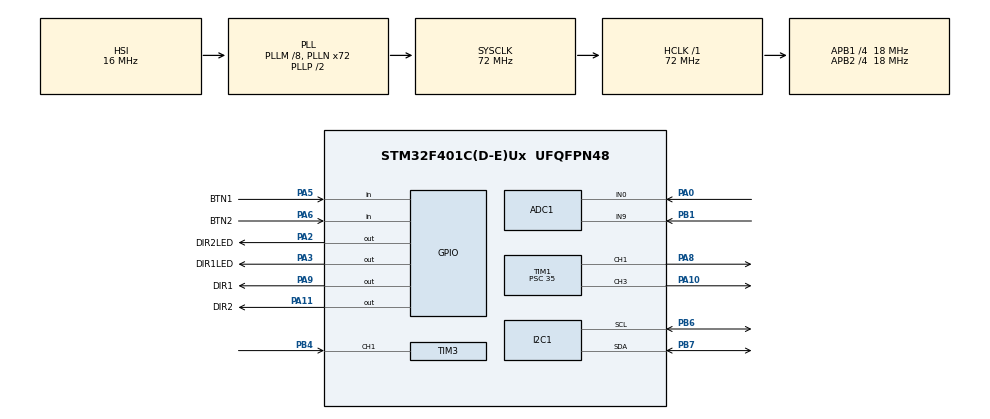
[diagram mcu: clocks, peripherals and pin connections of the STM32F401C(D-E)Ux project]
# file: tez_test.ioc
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ADC1.Channel-0\#ChannelRegularConversion=ADC_CHANNEL_0
ADC1.Channel-1\#ChannelRegularConversion=ADC_CHANNEL_9
ADC1.ContinuousConvMode=ENABLE
ADC1.DMAContinuousRequests=ENABLE
ADC1.DiscontinuousConvMode=DISABLE
ADC1.NbrOfConversion=2
ADC1.NbrOfConversionFlag=1
ADC1.Rank-0\#ChannelRegularConversion=1
ADC1.Rank-1\#ChannelRegularConversion=2
ADC1.SamplingTime-0\#ChannelRegularConversion=ADC_SAMPLETIME_112CYCLES
ADC1.SamplingTime-1\#ChannelRegularConversion=ADC_SAMPLETIME_56CYCLES
ADC1.master=1
Dma.ADC1.0.Direction=DMA_PERIPH_TO_MEMORY
Dma.ADC1.0.FIFOMode=DMA_FIFOMODE_DISABLE
Dma.ADC1.0.Instance=DMA2_Stream0
Dma.ADC1.0.MemDataAlignment=DMA_MDATAALIGN_WORD
Dma.ADC1.0.MemInc=DMA_MINC_ENABLE
Dma.ADC1.0.Mode=DMA_CIRCULAR
Dma.ADC1.0.PeriphDataAlignment=DMA_PDATAALIGN_WORD
Dma.ADC1.0.PeriphInc=DMA_PINC_DISABLE
Dma.ADC1.0.Priority=DMA_PRIORITY_LOW
Dma.Request0=ADC1
I2C1.I2C_Mode=I2C_Fast
Mcu.Family=STM32F4
Mcu.Name=STM32F401C(D-E)Ux
Mcu.Package=UFQFPN48
NVIC.ADC_IRQn=true\:0\:0\:false\:false\:true\:true\:true\:true
NVIC.DMA2_Stream0_IRQn=true\:0\:0\:false\:false\:true\:false\:true\:true
NVIC.PriorityGroup=NVIC_PRIORITYGROUP_4
NVIC.TIM3_IRQn=true\:0\:0\:true\:false\:true\:true\:true\:true
PA0-WKUP.Signal=ADCx_IN0
PA10.Signal=S_TIM1_CH3
PA11.GPIO_Label=DIR2
PA11.Signal=GPIO_Output
PA13.Mode=Trace_Asynchronous_SW
PA13.Signal=SYS_JTMS-SWDIO
PA14.Mode=Trace_Asynchronous_SW
PA14.Signal=SYS_JTCK-SWCLK
PA2.GPIO_Label=DIR2LED
PA2.Signal=GPIO_Output
PA3.GPIO_Label=DIR1LED
PA3.Signal=GPIO_Output
PA5.GPIO_Label=BTN1
PA5.Signal=GPIO_Input
PA6.GPIO_Label=BTN2
PA6.Signal=GPIO_Input
PA8.Signal=S_TIM1_CH1
PA9.GPIO_Label=DIR1
PA9.Signal=GPIO_Output
PB1.Signal=ADCx_IN9
PB3.Mode=Trace_Asynchronous_SW
PB3.Signal=SYS_JTDO-SWO
PB4.Signal=S_TIM3_CH1
PB6.Mode=I2C
PB6.Signal=I2C1_SCL
PB7.Mode=I2C
PB7.Signal=I2C1_SDA
PH0\ -\ OSC_IN.Mode=HSE-External-Oscillator
PH0\ -\ OSC_IN.Signal=RCC_OSC_IN
PH1\ -\ OSC_OUT.Mode=HSE-External-Oscillator
PH1\ -\ OSC_OUT.Signal=RCC_OSC_OUT
ProjectManager.HeapSize=0x200
ProjectManager.StackSize=0x400
ProjectManager.TargetToolchain=STM32CubeIDE
RCC.48MHZClocksFreq_Value=36000000
RCC.AHBFreq_Value=72000000
RCC.APB1CLKDivider=RCC_HCLK_DIV4
RCC.APB1Freq_Value=18000000
RCC.APB1TimFreq_Value=36000000
RCC.APB2CLKDivider=RCC_HCLK_DIV4
RCC.APB2Freq_Value=18000000
RCC.APB2TimFreq_Value=36000000
RCC.CortexFreq_Value=72000000
RCC.HCLKFreq_Value=72000000
RCC.HSE_VALUE=25000000
RCC.HSI_VALUE=16000000
RCC.LSE_VALUE=32768
RCC.PLLM=8
RCC.PLLN=72
RCC.SYSCLKFreq_VALUE=72000000
RCC.SYSCLKSource=RCC_SYSCLKSOURCE_PLLCLK
RCC.VCOOutputFreq_Value=144000000
SH.ADCx_IN0.0=ADC1_IN0,IN0
SH.ADCx_IN9.0=ADC1_IN9,IN9
SH.S_TIM1_CH1.0=TIM1_CH1,PWM Generation1 CH1
SH.S_TIM1_CH3.0=TIM1_CH3,PWM Generation3 CH3
SH.S_TIM3_CH1.0=TIM3_CH1,Input_Capture1_from_TI1
TIM1.Channel-PWM\ Generation1\ CH1=TIM_CHANNEL_1
TIM1.Channel-PWM\ Generation3\ CH3=TIM_CHANNEL_3
TIM1.CounterMode=TIM_COUNTERMODE_DOWN
TIM1.Period=999
TIM1.Prescaler=35
TIM3.AutoReloadPreload=TIM_AUTORELOAD_PRELOAD_DISABLE
TIM3.Channel-Input_Capture1_from_TI1=TIM_CHANNEL_1
TIM3.ICFilter_CH1=15
TIM3.Prescaler=1023
TIM3.TIM_MasterSlaveMode=TIM_MASTERSLAVEMODE_DISABLE
VP_TIM1_VS_ClockSourceINT.Mode=Internal
VP_TIM3_VS_ClockSourceINT.Mode=Internal
board=custom

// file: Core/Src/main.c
/* USER CODE BEGIN Header */
/**
  ******************************************************************************
  * @file           : main.c
  * @brief          : Main program body
  ******************************************************************************
  * @attention
  *
  * Copyright (c) 2023 STMicroelectronics.
  * All rights reserved.
  *
  * This software is licensed under terms that can be found in the LICENSE file
  * in the root directory of this software component.
  * If no LICENSE file comes with this software, it is provided AS-IS.
  *
  ******************************************************************************
  */
/* USER CODE END Header */
#include "main.h"

/* USER CODE BEGIN Includes */
#include "fonts.h"
#include "ssd1306.h"
#include <stdlib.h>
#include <stdio.h>
#include <string.h>
#include"math.h"
/* USER CODE END Includes */

/* USER CODE BEGIN PD */

uint32_t adcbuffer[2];
uint32_t adc_new;
uint16_t speed;
uint32_t adc;
float current;
float voltage;
/* USER CODE END PD */

ADC_HandleTypeDef hadc1;
DMA_HandleTypeDef hdma_adc1;

I2C_HandleTypeDef hi2c1;

TIM_HandleTypeDef htim1;
TIM_HandleTypeDef htim3;

/* USER CODE BEGIN PV */

//Devir Ölçme İçin
uint32_t ICValue = 10000, temp1, pwm;
uint16_t  devirDakika;
uint32_t devirFaktoru;
uint16_t preScaler = 1024;
uint16_t ICbuffer[5] = {0,0,0,0,0};
uint16_t sumIC=0, ortalamaIC=10000;
uint8_t i, tim3_overflow_flag = 0i;

//PID için
float kp = 0.15;  // PID sabitleri
float ki = 0.47;//0.2;
float kd = 0.02; //sonra bakılacak

float error = 0.0;  // hata değeri
float derivative = 0.0;  // türev değeri
float setpoint ;  // hedef hız değeri
float pwm_output = 0.0;  // pwm çıkış değeri
uint32_t last_time = 0;

float amplification;

uint32_t pwm_max = 65535;
uint32_t pwm1;
uint16_t duty_cycle;
uint8_t switch1_durum = 0;
uint8_t switch2_durum = 0;

uint32_t zaman = 0, son_zaman = 0;
/* USER CODE END PV */

void SystemClock_Config(void);
static void MX_GPIO_Init(void);
static void MX_DMA_Init(void);
static void MX_ADC1_Init(void);
static void MX_I2C1_Init(void);
static void MX_TIM1_Init(void);
static void MX_TIM3_Init(void);
/* USER CODE BEGIN PFP */

void read_switch_states(uint8_t *switch1_durum, uint8_t *switch2_durum); //switchleri okuyon fonk.

void HAL_ADC_ConvCpltCallback(ADC_HandleTypeDef* hadc) //adc okuma.
{
	if(hadc->Instance == ADC1)
	{
		speed = adcbuffer[0];
		adc = adcbuffer[1];
	}
}

void display_values(int duty_cycle, int current, int devirDakika, int setpoint_int) {
    HAL_Delay(50);
    char adc1[5], adc2[5], adc3[5], adc4[5];

    adc1[4] = '\0';// ekrandaki eski sayıyı silmek için.
    snprintf(adc1, 5, "%04d", duty_cycle);
    SSD1306_GotoXY (40, 0);
    SSD1306_Puts ( adc1 , &Font_11x18, 1);

    adc2[4] = '\0';
    snprintf(adc2, 5, "%04d", current);
    SSD1306_GotoXY (30, 20);
    SSD1306_Puts ( adc2 , &Font_11x18, 1);

    adc3[4] = '\0';
    snprintf(adc3, 5, "%04d", devirDakika);
    SSD1306_GotoXY (40, 40);
    SSD1306_Puts (adc3, &Font_11x18, 1);

    adc4[4] = '\0';
    snprintf(adc4, 5, "%04d", setpoint_int);
    SSD1306_GotoXY (95, 25);
    SSD1306_Puts ( adc4 , &Font_7x10, 1);
    SSD1306_UpdateScreen();
}

/* USER CODE END PFP */

int main(void)
{

  /* MCU Configuration--------------------------------------------------------*/

  /* Reset of all peripherals, Initializes the Flash interface and the Systick. */
  HAL_Init();

  /* Configure the system clock */
  SystemClock_Config();

  /* Initialize all configured peripherals */
  MX_GPIO_Init();
  MX_DMA_Init();
  MX_ADC1_Init();
  MX_I2C1_Init();
  MX_TIM1_Init();
  MX_TIM3_Init();
  /* USER CODE BEGIN 2 */

    SSD1306_Init();

    HAL_TIM_IC_Start_IT(&htim3, TIM_CHANNEL_1); // Start timer in interrupt mode
    HAL_TIM_Base_Start(&htim3); // Start timer in counter mode

    HAL_TIM_PWM_Start(&htim1, TIM_CHANNEL_3);
    HAL_TIM_PWM_Start(&htim1, TIM_CHANNEL_1);
    HAL_ADC_Start_DMA(&hadc1, adcbuffer, 2);

    devirFaktoru = (60000000/preScaler)*36;

 	SSD1306_GotoXY (0,0);
 	SSD1306_Puts ("PWM= ", &Font_11x18, 1);
   	SSD1306_GotoXY (0,20);
   	SSD1306_Puts ("mA= ", &Font_11x18, 1);
 	SSD1306_GotoXY (0,40);
 	SSD1306_Puts ("RPM= ", &Font_11x18, 1);
	SSD1306_GotoXY (75,25);
 	SSD1306_Puts ("SP= ", &Font_7x10, 1);
   	SSD1306_UpdateScreen();
   	HAL_Delay(50);

  /* USER CODE END 2 */

  /* Infinite loop */
  /* USER CODE BEGIN WHILE */
  while (1)
  {

	  voltage = speed*0.8056640625; //mV cinsinden
	  if (voltage <= 60) {
	    amplification = -(0.00004*voltage*voltage*voltage) + (0.0033*voltage*voltage) + (0.0348*voltage) + 5.6288;
	  } else if (voltage <= 180) {
	    amplification = -(0.0001*voltage*voltage) + (0.0501*voltage)+ 8.5763;
	  } else if (voltage <= 400) {
	    amplification = (0.0069*voltage) + 12.6904;
	  } else {
	    amplification = 15.9;
	  }
	  current = ((voltage)/amplification)/0.150; //mA cinsinden

	   if ((HAL_GetTick() - son_zaman) > 500) { // motor durduğunda hatalı değer vermesin sıfırlasın.
	        ICValue = 0;
	        devirDakika = 0;
	    }
      devirDakika = devirFaktoru/ortalamaIC;
      sumIC -= ICbuffer[4];

      for (i = 4; i > 0; --i){
	      ICbuffer[i] = ICbuffer[i - 1];
      }
      ICbuffer[0] = ICValue;
      sumIC += ICValue;
      ortalamaIC = sumIC / 5;

       setpoint = (4096-adc) * 0.9765625;// 0-4096 arası adc değeri 0-4000 rpm arasına ayarlanmıştır.
       int setpoint_int = (int) floor(setpoint); // küsüratı yuvarla
       if (setpoint_int > 4000) {
    	   setpoint_int = 4000;
        }
       else if (setpoint_int < 500){
    	   if ((switch1_durum && !switch2_durum) || (!switch1_durum && switch2_durum)){

    		   setpoint_int = 500;
    	   }
    	   else {
    	           setpoint_int = 0;
    	           }

       }

      error = setpoint_int - devirDakika;   // hata değeri
      static float integral = 0;
      static float last_error = 0;
      uint32_t current_time = HAL_GetTick(); // zamanı ölç
      float dt = (current_time - last_time) / 1000.0; //  ms to s
      last_time = current_time;
       // integral değerini hesapla
       integral += error*dt;
       // türev değerini hesapla
       derivative = (error - last_error)/dt;
       // PID çıkışını hesapla
       pwm_output = (kp * error + ki * integral + kd * derivative)*0.256; // buradaki değer 0-4000 arası oluyor, bunu 0-1024 arasına sınırlıyoruz.
       pwm = 1024-pwm_output; // çıkışı tersle
       duty_cycle = (1024-pwm)*0.9765625; // ekrana yazdıracağımız 0-1024 değerini 0-1000 arasına sınırlıyoruz.
       if (duty_cycle < 0) {
    	   duty_cycle = 0;
       }
       else if (duty_cycle > 1000) {
    	   duty_cycle = 1000;
       }
       // PWM çıkışını sınırla (20 - 1024 arasında)
       if (pwm < 20) {
         pwm = 20;
       }
       else if (pwm > 1024) {
         pwm = 1024;
       }
      // son hata değerini güncelle
        last_error = error;

       display_values(duty_cycle, current, devirDakika, setpoint_int); //ekrana yazdır.
       read_switch_states(&switch1_durum, &switch2_durum);  // switchlerin durumlarını kontrol et.

    if (switch1_durum && !switch2_durum) {      // Switch1  set, Switch2 reset, Motor Yönü saat yönü
     	SSD1306_GotoXY (90,5);
     	SSD1306_Puts ("CW  ", &Font_7x10, 1); // Ekrana motorun saat yönünde olduğunu yazdır
     	SSD1306_UpdateScreen();

 		HAL_GPIO_WritePin(DIR1_GPIO_Port,DIR1_Pin,GPIO_PIN_SET);
 		HAL_GPIO_WritePin(DIR2_GPIO_Port,DIR2_Pin,GPIO_PIN_RESET);

   	    HAL_GPIO_TogglePin(DIR1LED_GPIO_Port, DIR1LED_Pin);
 	    HAL_GPIO_WritePin(DIR2LED_GPIO_Port, DIR2LED_Pin, GPIO_PIN_RESET);

 	   	__HAL_TIM_SET_COMPARE(&htim1,TIM_CHANNEL_1, pwm_max); // pwm_max değeri timerların %100 görev saykılıyla çalışması ve lojik 1 olarak davranması için.
 	   __HAL_TIM_SET_COMPARE(&htim1, TIM_CHANNEL_3, pwm);
    }

    else if (!switch1_durum && switch2_durum) {      // Switch2 set, Switch1 reset, Motor Yönü saat yönü tersi
     	       SSD1306_GotoXY (90,5);
     	       SSD1306_Puts ("CCW ", &Font_7x10, 1); // Ekrana motorun saat yönünün tersinde olduğunu yazdır
     	       SSD1306_UpdateScreen();

        	   HAL_GPIO_WritePin(DIR1_GPIO_Port,DIR1_Pin,GPIO_PIN_RESET);
        	   HAL_GPIO_WritePin(DIR2_GPIO_Port,DIR2_Pin,GPIO_PIN_SET);

        	   HAL_GPIO_WritePin(DIR1LED_GPIO_Port, DIR1LED_Pin, GPIO_PIN_RESET);
        	   HAL_GPIO_TogglePin(DIR2LED_GPIO_Port, DIR2LED_Pin);

        	   __HAL_TIM_SET_COMPARE(&htim1, TIM_CHANNEL_1, pwm);
        	   __HAL_TIM_SET_COMPARE(&htim1,TIM_CHANNEL_3, pwm_max);
           }

    else {
               // İki switch de set ya da reset, Motoru durdur.
	           SSD1306_GotoXY (90,5);
	           SSD1306_Puts ("STOP", &Font_7x10, 1); // Ekrana motorun durduğunu yazdır
	           SSD1306_UpdateScreen();

        	   HAL_GPIO_WritePin(DIR1_GPIO_Port,DIR1_Pin,GPIO_PIN_RESET);
        	   HAL_GPIO_WritePin(DIR2_GPIO_Port,DIR2_Pin,GPIO_PIN_RESET);

        	   __HAL_TIM_SET_COMPARE(&htim1,TIM_CHANNEL_1, pwm_max);
        	   __HAL_TIM_SET_COMPARE(&htim1,TIM_CHANNEL_3, pwm_max);

        		HAL_GPIO_WritePin(DIR1LED_GPIO_Port, DIR1LED_Pin, GPIO_PIN_SET);
        		HAL_GPIO_WritePin(DIR2LED_GPIO_Port, DIR2LED_Pin, GPIO_PIN_SET);

           }

    {

       	}

    }

    /* USER CODE END WHILE */

}

void SystemClock_Config(void)
{
  RCC_OscInitTypeDef RCC_OscInitStruct = {0};
  RCC_ClkInitTypeDef RCC_ClkInitStruct = {0};

  /** Configure the main internal regulator output voltage
  */
  __HAL_RCC_PWR_CLK_ENABLE();
  __HAL_PWR_VOLTAGESCALING_CONFIG(PWR_REGULATOR_VOLTAGE_SCALE2);

  /** Initializes the RCC Oscillators according to the specified parameters
  * in the RCC_OscInitTypeDef structure.
  */
  RCC_OscInitStruct.OscillatorType = RCC_OSCILLATORTYPE_HSI;
  RCC_OscInitStruct.HSIState = RCC_HSI_ON;
  RCC_OscInitStruct.HSICalibrationValue = RCC_HSICALIBRATION_DEFAULT;
  RCC_OscInitStruct.PLL.PLLState = RCC_PLL_ON;
  RCC_OscInitStruct.PLL.PLLSource = RCC_PLLSOURCE_HSI;
  RCC_OscInitStruct.PLL.PLLM = 8;
  RCC_OscInitStruct.PLL.PLLN = 72;
  RCC_OscInitStruct.PLL.PLLP = RCC_PLLP_DIV2;
  RCC_OscInitStruct.PLL.PLLQ = 4;
  if (HAL_RCC_OscConfig(&RCC_OscInitStruct) != HAL_OK)
  {
    Error_Handler();
  }

  /** Initializes the CPU, AHB and APB buses clocks
  */
  RCC_ClkInitStruct.ClockType = RCC_CLOCKTYPE_HCLK|RCC_CLOCKTYPE_SYSCLK
                              |RCC_CLOCKTYPE_PCLK1|RCC_CLOCKTYPE_PCLK2;
  RCC_ClkInitStruct.SYSCLKSource = RCC_SYSCLKSOURCE_PLLCLK;
  RCC_ClkInitStruct.AHBCLKDivider = RCC_SYSCLK_DIV1;
  RCC_ClkInitStruct.APB1CLKDivider = RCC_HCLK_DIV4;
  RCC_ClkInitStruct.APB2CLKDivider = RCC_HCLK_DIV4;

  if (HAL_RCC_ClockConfig(&RCC_ClkInitStruct, FLASH_LATENCY_2) != HAL_OK)
  {
    Error_Handler();
  }
}

static void MX_ADC1_Init(void)
{

  ADC_ChannelConfTypeDef sConfig = {0};

  /** Configure the global features of the ADC (Clock, Resolution, Data Alignment and number of conversion)
  */
  hadc1.Instance = ADC1;
  hadc1.Init.ClockPrescaler = ADC_CLOCK_SYNC_PCLK_DIV2;
  hadc1.Init.Resolution = ADC_RESOLUTION_12B;
  hadc1.Init.ScanConvMode = ENABLE;
  hadc1.Init.ContinuousConvMode = ENABLE;
  hadc1.Init.DiscontinuousConvMode = DISABLE;
  hadc1.Init.ExternalTrigConvEdge = ADC_EXTERNALTRIGCONVEDGE_NONE;
  hadc1.Init.ExternalTrigConv = ADC_SOFTWARE_START;
  hadc1.Init.DataAlign = ADC_DATAALIGN_RIGHT;
  hadc1.Init.NbrOfConversion = 2;
  hadc1.Init.DMAContinuousRequests = ENABLE;
  hadc1.Init.EOCSelection = ADC_EOC_SINGLE_CONV;
  if (HAL_ADC_Init(&hadc1) != HAL_OK)
  {
    Error_Handler();
  }

  /** Configure for the selected ADC regular channel its corresponding rank in the sequencer and its sample time.
  */
  sConfig.Channel = ADC_CHANNEL_0;
  sConfig.Rank = 1;
  sConfig.SamplingTime = ADC_SAMPLETIME_112CYCLES;
  if (HAL_ADC_ConfigChannel(&hadc1, &sConfig) != HAL_OK)
  {
    Error_Handler();
  }

  /** Configure for the selected ADC regular channel its corresponding rank in the sequencer and its sample time.
  */
  sConfig.Channel = ADC_CHANNEL_9;
  sConfig.Rank = 2;
  sConfig.SamplingTime = ADC_SAMPLETIME_56CYCLES;
  if (HAL_ADC_ConfigChannel(&hadc1, &sConfig) != HAL_OK)
  {
    Error_Handler();
  }

}

static void MX_I2C1_Init(void)
{

  hi2c1.Instance = I2C1;
  hi2c1.Init.ClockSpeed = 400000;
  hi2c1.Init.DutyCycle = I2C_DUTYCYCLE_2;
  hi2c1.Init.OwnAddress1 = 0;
  hi2c1.Init.AddressingMode = I2C_ADDRESSINGMODE_7BIT;
  hi2c1.Init.DualAddressMode = I2C_DUALADDRESS_DISABLE;
  hi2c1.Init.OwnAddress2 = 0;
  hi2c1.Init.GeneralCallMode = I2C_GENERALCALL_DISABLE;
  hi2c1.Init.NoStretchMode = I2C_NOSTRETCH_DISABLE;
  if (HAL_I2C_Init(&hi2c1) != HAL_OK)
  {
    Error_Handler();
  }

}

static void MX_TIM1_Init(void)
{

  TIM_ClockConfigTypeDef sClockSourceConfig = {0};
  TIM_MasterConfigTypeDef sMasterConfig = {0};
  TIM_OC_InitTypeDef sConfigOC = {0};
  TIM_BreakDeadTimeConfigTypeDef sBreakDeadTimeConfig = {0};

  htim1.Instance = TIM1;
  htim1.Init.Prescaler = 35;
  htim1.Init.CounterMode = TIM_COUNTERMODE_DOWN;
  htim1.Init.Period = 999;
  htim1.Init.ClockDivision = TIM_CLOCKDIVISION_DIV1;
  htim1.Init.RepetitionCounter = 0;
  htim1.Init.AutoReloadPreload = TIM_AUTORELOAD_PRELOAD_DISABLE;
  if (HAL_TIM_Base_Init(&htim1) != HAL_OK)
  {
    Error_Handler();
  }
  sClockSourceConfig.ClockSource = TIM_CLOCKSOURCE_INTERNAL;
  if (HAL_TIM_ConfigClockSource(&htim1, &sClockSourceConfig) != HAL_OK)
  {
    Error_Handler();
  }
  if (HAL_TIM_PWM_Init(&htim1) != HAL_OK)
  {
    Error_Handler();
  }
  sMasterConfig.MasterOutputTrigger = TIM_TRGO_RESET;
  sMasterConfig.MasterSlaveMode = TIM_MASTERSLAVEMODE_DISABLE;
  if (HAL_TIMEx_MasterConfigSynchronization(&htim1, &sMasterConfig) != HAL_OK)
  {
    Error_Handler();
  }
  sConfigOC.OCMode = TIM_OCMODE_PWM1;
  sConfigOC.Pulse = 0;
  sConfigOC.OCPolarity = TIM_OCPOLARITY_HIGH;
  sConfigOC.OCNPolarity = TIM_OCNPOLARITY_HIGH;
  sConfigOC.OCFastMode = TIM_OCFAST_DISABLE;
  sConfigOC.OCIdleState = TIM_OCIDLESTATE_RESET;
  sConfigOC.OCNIdleState = TIM_OCNIDLESTATE_RESET;
  if (HAL_TIM_PWM_ConfigChannel(&htim1, &sConfigOC, TIM_CHANNEL_1) != HAL_OK)
  {
    Error_Handler();
  }
  if (HAL_TIM_PWM_ConfigChannel(&htim1, &sConfigOC, TIM_CHANNEL_3) != HAL_OK)
  {
    Error_Handler();
  }
  sBreakDeadTimeConfig.OffStateRunMode = TIM_OSSR_DISABLE;
  sBreakDeadTimeConfig.OffStateIDLEMode = TIM_OSSI_DISABLE;
  sBreakDeadTimeConfig.LockLevel = TIM_LOCKLEVEL_OFF;
  sBreakDeadTimeConfig.DeadTime = 0;
  sBreakDeadTimeConfig.BreakState = TIM_BREAK_DISABLE;
  sBreakDeadTimeConfig.BreakPolarity = TIM_BREAKPOLARITY_HIGH;
  sBreakDeadTimeConfig.AutomaticOutput = TIM_AUTOMATICOUTPUT_DISABLE;
  if (HAL_TIMEx_ConfigBreakDeadTime(&htim1, &sBreakDeadTimeConfig) != HAL_OK)
  {
    Error_Handler();
  }
  HAL_TIM_MspPostInit(&htim1);

}

static void MX_TIM3_Init(void)
{

  TIM_ClockConfigTypeDef sClockSourceConfig = {0};
  TIM_MasterConfigTypeDef sMasterConfig = {0};
  TIM_IC_InitTypeDef sConfigIC = {0};

  htim3.Instance = TIM3;
  htim3.Init.Prescaler = 1023;
  htim3.Init.CounterMode = TIM_COUNTERMODE_UP;
  htim3.Init.Period = 65535;
  htim3.Init.ClockDivision = TIM_CLOCKDIVISION_DIV1;
  htim3.Init.AutoReloadPreload = TIM_AUTORELOAD_PRELOAD_DISABLE;
  if (HAL_TIM_Base_Init(&htim3) != HAL_OK)
  {
    Error_Handler();
  }
  sClockSourceConfig.ClockSource = TIM_CLOCKSOURCE_INTERNAL;
  if (HAL_TIM_ConfigClockSource(&htim3, &sClockSourceConfig) != HAL_OK)
  {
    Error_Handler();
  }
  if (HAL_TIM_IC_Init(&htim3) != HAL_OK)
  {
    Error_Handler();
  }
  sMasterConfig.MasterOutputTrigger = TIM_TRGO_RESET;
  sMasterConfig.MasterSlaveMode = TIM_MASTERSLAVEMODE_DISABLE;
  if (HAL_TIMEx_MasterConfigSynchronization(&htim3, &sMasterConfig) != HAL_OK)
  {
    Error_Handler();
  }
  sConfigIC.ICPolarity = TIM_INPUTCHANNELPOLARITY_RISING;
  sConfigIC.ICSelection = TIM_ICSELECTION_DIRECTTI;
  sConfigIC.ICPrescaler = TIM_ICPSC_DIV1;
  sConfigIC.ICFilter = 15;
  if (HAL_TIM_IC_ConfigChannel(&htim3, &sConfigIC, TIM_CHANNEL_1) != HAL_OK)
  {
    Error_Handler();
  }

}

static void MX_DMA_Init(void)
{

  /* DMA controller clock enable */
  __HAL_RCC_DMA2_CLK_ENABLE();

  /* DMA interrupt init */
  /* DMA2_Stream0_IRQn interrupt configuration */
  HAL_NVIC_SetPriority(DMA2_Stream0_IRQn, 0, 0);
  HAL_NVIC_EnableIRQ(DMA2_Stream0_IRQn);

}

static void MX_GPIO_Init(void)
{
  GPIO_InitTypeDef GPIO_InitStruct = {0};

  /* GPIO Ports Clock Enable */
  __HAL_RCC_GPIOH_CLK_ENABLE();
  __HAL_RCC_GPIOA_CLK_ENABLE();
  __HAL_RCC_GPIOB_CLK_ENABLE();

  /*Configure GPIO pin Output Level */
  HAL_GPIO_WritePin(GPIOA, DIR2LED_Pin|DIR1LED_Pin|DIR1_Pin|DIR2_Pin, GPIO_PIN_RESET);

  /*Configure GPIO pins : DIR2LED_Pin DIR1LED_Pin DIR1_Pin DIR2_Pin */
  GPIO_InitStruct.Pin = DIR2LED_Pin|DIR1LED_Pin|DIR1_Pin|DIR2_Pin;
  GPIO_InitStruct.Mode = GPIO_MODE_OUTPUT_PP;
  GPIO_InitStruct.Pull = GPIO_NOPULL;
  GPIO_InitStruct.Speed = GPIO_SPEED_FREQ_LOW;
  HAL_GPIO_Init(GPIOA, &GPIO_InitStruct);

  /*Configure GPIO pins : BTN1_Pin BTN2_Pin */
  GPIO_InitStruct.Pin = BTN1_Pin|BTN2_Pin;
  GPIO_InitStruct.Mode = GPIO_MODE_INPUT;
  GPIO_InitStruct.Pull = GPIO_NOPULL;
  HAL_GPIO_Init(GPIOA, &GPIO_InitStruct);

}

/* USER CODE BEGIN 4 */
void HAL_TIM_IC_CaptureCallback(TIM_HandleTypeDef *htim) //TIM3 yükselen kenar oku.
{
  if (htim->Instance == TIM3){
		if(htim->Channel == HAL_TIM_ACTIVE_CHANNEL_1){
			temp1 = HAL_TIM_ReadCapturedValue(htim, TIM_CHANNEL_1);
			if(tim3_overflow_flag == 1){
				temp1 = 65535;
				tim3_overflow_flag = 0;
			}
			if(temp1>100) {
				ICValue = temp1;
				son_zaman = zaman;
				zaman = HAL_GetTick();
			}
		   else {
			   ICValue = 0;
			   devirDakika = 0;
			            }
			TIM3->CNT=0;
		}

  }
}
void HAL_TIM_PeriodElapsedCallback(TIM_HandleTypeDef *htim){
	if(htim->Instance == TIM3){
		ICValue = 65535;
		tim3_overflow_flag = 1;
	}
}
void read_switch_states(uint8_t *switch1_durum, uint8_t *switch2_durum) {
    *switch1_durum = HAL_GPIO_ReadPin(BTN1_GPIO_Port, BTN1_Pin) == GPIO_PIN_RESET;
    *switch2_durum = HAL_GPIO_ReadPin(BTN2_GPIO_Port, BTN2_Pin) == GPIO_PIN_RESET;
}

/* USER CODE END 4 */

void Error_Handler(void)
{
  __disable_irq();
  while (1)
  {
  }
}
